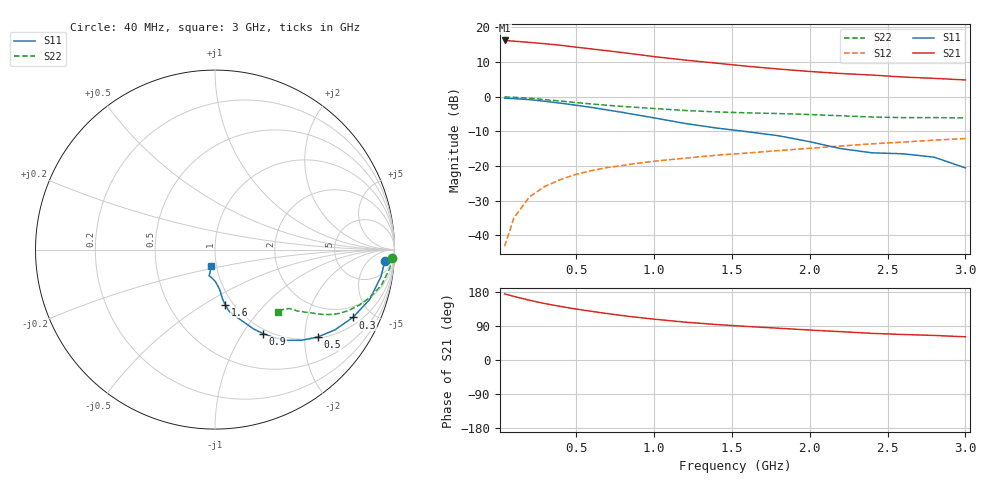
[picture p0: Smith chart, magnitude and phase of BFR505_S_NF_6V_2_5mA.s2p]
! Filename:  BFR505I.S2P  Version:  3.0
! Philips part #: BFR505  Date: Feb 1992
! Bias condition: Vce=6V, Ic=2.5mA
#  MHz  S  MA  R  50
! Freq  S11  S21  S12  S22  !GUM [dB]
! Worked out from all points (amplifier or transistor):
!   21 points, 40 MHz to 3 GHz, reference 50 ohm
!   highest |S21| = 16.2 dB at 40 MHz (marker M1)
!   |S21| within 3 dB of that: start of sweep to 705.4 MHz
!   unconditionally stable (mu >= 1): 1.92 GHz to end of sweep
!   at 300 MHz: K = 0.29, MSG = 20.5 dB, |S12| = -25.8 dB
!   at 1 GHz: K = 0.71, MSG = 15.1 dB, |S12| = -18.6 dB
!   at 3 GHz: K = 1.08, MAG = 6.7 dB, |S12| = -12.1 dB
!   lowest NFmin = 1.30 dB at 900 MHz
!   S11 on the Smith chart (normalised r, x): 40 MHz: 15, -19; 300 MHz: 1.36, -3.84; 500 MHz: 1.04, -2.32; 900 MHz: 0.94, -1.24; 1.6 GHz: 0.92, -0.62; 3 GHz: 0.94, -0.17
40  0.949 -3.7  6.445 174.4  0.007 87.1  0.989 -2.6
100  0.937 -9.2  6.297 167.8  0.018 84.1  0.979 -6.1
200  0.905 -18.0  6.045 157.7  0.036 77.8  0.949 -12.0
300  0.856 -26.2  5.781 148.8  0.051 73.6  0.905 -16.9
400  0.804 -33.8  5.494 141.3  0.064 70.2  0.863 -20.9
500  0.751 -40.4  5.16 134.4  0.076 67.7  0.821 -24.3
600  0.698 -46.4  4.859 128.3  0.086 65.8  0.783 -26.9
700  0.643 -51.8  4.578 122.5  0.095 64.4  0.75 -28.8
800  0.591 -56.1  4.303 117.1  0.102 63.6  0.721 -30.1
900  0.54 -60.1  4.03 112.2  0.11 62.9  0.697 -31.2
1000  0.494 -63.9  3.775 107.8  0.117 62.4  0.673 -32.1
1200  0.41 -70.6  3.358 99.9  0.13 61.9  0.631 -33.8
1400  0.353 -77.1  3.036 93.6  0.143 62.1  0.602 -35.2
1600  0.312 -79.6  2.737 88.4  0.154 62.4  0.583 -36.0
1800  0.273 -81.5  2.498 83.9  0.167 63.3  0.57 -36.9
2000  0.224 -83.3  2.302 79.0  0.18 63.0  0.552 -37.2
2200  0.178 -89.2  2.154 74.8  0.194 63.0  0.53 -38.4
2400  0.155 -98.2  2.044 70.3  0.209 62.6  0.508 -40.6
2600  0.15 -102.6  1.915 67.3  0.221 62.8  0.498 -43.0
2800  0.134 -102.3  1.833 64.8  0.236 63.3  0.499 -44.4
3000  0.094 -102.7  1.739 61.2  0.249 63.0  0.492 -44.7
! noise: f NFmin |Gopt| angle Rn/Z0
900  1.3  0.631  16  0.74
2000  1.9  0.483  46  0.55
